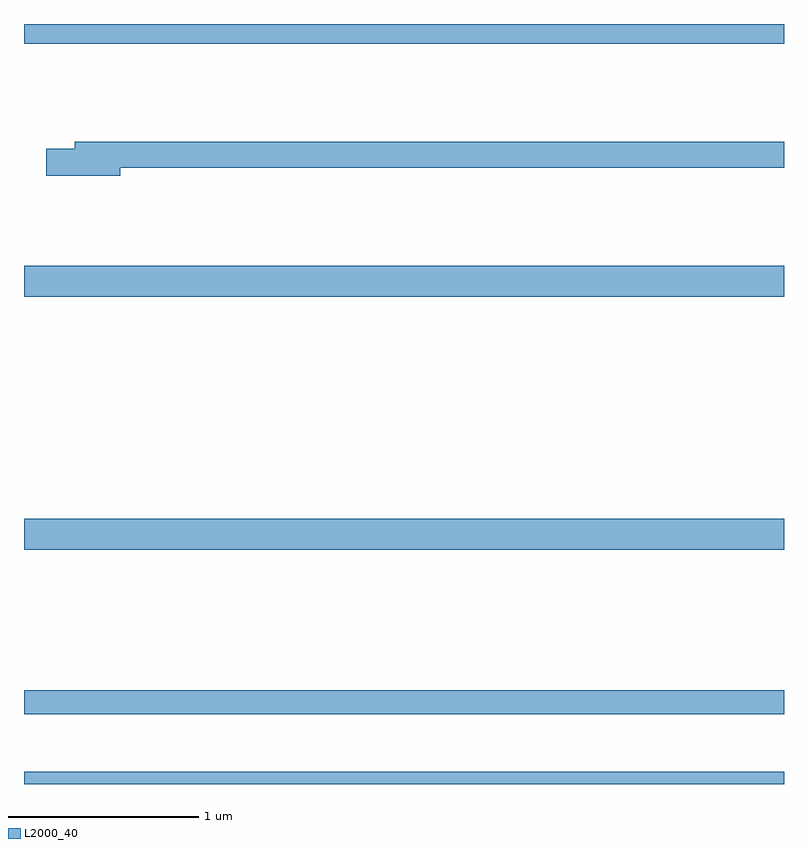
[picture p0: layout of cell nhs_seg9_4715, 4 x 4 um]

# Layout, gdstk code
import gdstk
lib = gdstk.Library(unit=1e-6, precision=1e-09)
def R(c, l, rs):  # rectangles x0, y0, x1, y1
    for r in rs: c.add(gdstk.rectangle(r[:2], r[2:], *l))
def P(c, l, *ps):  # polygons
    for p in ps: c.add(gdstk.Polygon(p, *l))
L2000_40 = (2000, 40)

nhs_seg9_4715 = lib.new_cell('nhs_seg9_4715')
R(nhs_seg9_4715, L2000_40, [(383,1216.5,387,1216.564), (383,1216.866,387,1216.994), (383,1217.732,387,1217.896), (383,1219.064,387,1219.228), (383,1220.396,387,1220.5)])
P(nhs_seg9_4715, L2000_40, [(383.506,1219.744),(387,1219.744),(387,1219.88),(383.267,1219.88),(383.267,1219.844),(383.118,1219.844),(383.118,1219.702),(383.506,1219.702)])

lib.write_gds('nhs_seg9_4715.gds')
